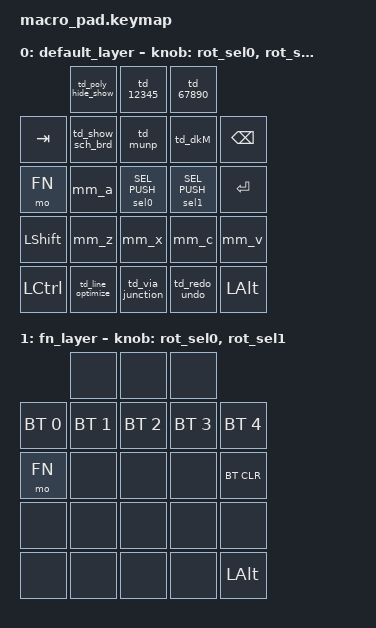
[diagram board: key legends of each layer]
/*
 * Copyright (c) 2024 The ZMK Contributors
 *
 * SPDX-License-Identifier: MIT
 */

#include <behaviors.dtsi>
#include <dt-bindings/zmk/keys.h>
#include <dt-bindings/zmk/bt.h>
#include <dt-bindings/zmk/selector.h>

#define DEFAULT   0
#define FN        1

&mt {
    tapping-term-ms = <400>;
};

/ {

    behaviors {
        td_redo_undo: tap_dance_redo_undo {
            compatible = "zmk,behavior-tap-dance";
            #binding-cells = <0>;
            tapping-term-ms = <300>;
            bindings = <&kp LC(Y)>,<&kp LC(Z)>;
        };

        td_via_junction: tap_dance_via_junction {
            compatible = "zmk,behavior-tap-dance";
            #binding-cells = <0>;
            tapping-term-ms = <300>;
            bindings = <&kp LA(V)>, <&kp LC(J)>;
        };

        td_name_value: tap_dance_name_value {
            compatible = "zmk,behavior-tap-dance";
            #binding-cells = <0>;
            tapping-term-ms = <300>;
            bindings = <&kp N>,<&kp V>;
        };

        td_move_split: tap_dance_move_split {
            compatible = "zmk,behavior-tap-dance";
            #binding-cells = <0>;
            tapping-term-ms = <300>;
            bindings = <&kp M>,<&kp L>;
        };

        td_show_sch_brd: tap_dance_show_sch_brd {
            compatible = "zmk,behavior-tap-dance";
            #binding-cells = <0>;
            tapping-term-ms = <300>;
            bindings = <&kp W>,<&kp LC(N1)>,<&kp LC(N2)>;
        };

        td_poly_hide_show: tap_dance_poly_hidefill_showfill {
            compatible = "zmk,behavior-tap-dance";
            #binding-cells = <0>;
            tapping-term-ms = <300>;
            bindings = <&kp LC(LS(P))>,<&kp LC(LS(O))>,<&kp LC(LS(I))>;
        };

        td_singlelayer_flipboard: tap_dance_singlelayer_flipboard {
            compatible = "zmk,behavior-tap-dance";
            #binding-cells = <0>;
            tapping-term-ms = <300>;
            bindings = <&kp LC(T)>,<&kp LC(LS(LA(F)))>;
        };

        td_line_optimize: tap_dance_line_optimize {
            compatible = "zmk,behavior-tap-dance";
            #binding-cells = <0>;
            tapping-term-ms = <300>;
            bindings = <&kp LC(L)>,<&kp LC(LS(LA(O)))>;
        };

        td_net_unroute_del: tap_dance_net_unroute_del {
            compatible = "zmk,behavior-tap-dance";
            #binding-cells = <0>;
            tapping-term-ms = <300>;
            bindings = <&kp R>,<&kp LC(LS(LA(R)))>,<&kp LC(LS(D))>;
        };

        td_12345: tap_dance_12345 {
            compatible = "zmk,behavior-tap-dance";
            #binding-cells = <0>;
            tapping-term-ms = <300>;
            bindings = <&kp N1>,<&kp N2>,<&kp N3>,<&kp N4>,<&kp N5>;
        };

        td_67890: tap_dance_67890 {
            compatible = "zmk,behavior-tap-dance";
            #binding-cells = <0>;
            tapping-term-ms = <300>;
            bindings = <&kp N6>,<&kp N7>,<&kp N8>,<&kp N9>,<&kp N0>;
        };

        td_munp: tap_dance_munp {
            compatible = "zmk,behavior-tap-dance";
            #binding-cells = <0>;
            tapping-term-ms = <300>;
            bindings = <&kp M>,<&kp U>,<&kp N>,<&kp P>;
        };

        td_dkM: tap_dance_dkM {
            compatible = "zmk,behavior-tap-dance";
            #binding-cells = <0>;
            tapping-term-ms = <300>;
            bindings = <&kp DOT>,<&kp K>,<&kp LS(M)>;
        };

        sel0: selector_0 {
            compatible = "zmk,behavior-selector";
            #binding-cells = <1>;
            bindings =
                <&kp LC(LA(DOT))>,      <&sel0 5>,        // LCTRL + LALT + .  : layer 25;
                <&kp DOT>,              <&sel0 4>,        // LCTRL + LSHFT + . : layer 1;
                <&kp LC(LS(DOT))>,      <&sel0 3>,        // .                 : layer 2;
                <&kp LC(LS(COMMA))>,    <&sel0 2>,        // ,                 : layer 15;
                <&kp COMMA>,            <&sel0 1>,        // LCTRL + LSHFT + , : layer 16;
                <&kp LC(LA(COMMA))>,    <&sel0 0>;        // LCTRL + LALT + ,  : layer 26;
            selection-default = <1>;
            separate-pushed;
        };

        sel1: selector_1 {
            compatible = "zmk,behavior-selector";
            #binding-cells = <1>;
            bindings =
                <&kp LC(LA(N4))>,       <&sel1 2>,  // LCTRL + LALT + 4 : Set width 0.2;
                <&kp LC(LA(N5))>,       <&sel1 2>,  // LCTRL + LALT + 5 : Set width 0.25;
                <&kp LC(LA(N6))>,       <&sel1 1>,  // LCTRL + LALT + 6 : Set width 0.3;
                <&kp LC(LA(N7))>,       <&sel1 1>,  // LCTRL + LALT + 7 : Set width 0.4;
                <&kp LC(LA(N8))>,       <&sel1 1>,  // LCTRL + LALT + 8 : Set width 0.6;
                <&kp LC(LA(N9))>,       <&sel1 1>,  // LCTRL + LALT + 9 : Set width 1.0;
                <&kp LC(LA(N0))>,       <&sel1 1>,  // LCTRL + LALT + 0 : Set width 1.4;
                <&kp LC(LA(MINUS))>,    <&sel1 1>,  // LCTRL + LALT + - : Set width 2.0;
                <&kp LC(LA(EQUAL))>,    <&sel1 1>,  // LCTRL + LALT + = : Set width 3.0;
                <&kp LC(LA(GRAV))>,     <&sel1 1>;  // LCTRL + LALT + ` : Set width 5.0;
            selection-default = <3>;
            separate-pushed;
        };

        rot_sel0: sensor_rotate_sel0 {
            compatible = "zmk,behavior-sensor-rotate";
            #sensor-binding-cells = <0>;
            bindings = <&sel0 SEL_NEXT>, <&sel0 SEL_PREV>;
        };

        rot_sel1: sensor_rotate_sel1 {
            compatible = "zmk,behavior-sensor-rotate";
            #sensor-binding-cells = <0>;
            bindings = <&sel1 SEL_NEXT>, <&sel1 SEL_PREV>;
        };

        mm_a: mm_a {
            compatible = "zmk,behavior-mod-morph";
            #binding-cells = <0>;
            bindings = <&td_singlelayer_flipboard>, <&kp A>;
            mods = <(MOD_LCTL)>;
            keep-mods = <(MOD_LCTL)>;
        };
        mm_z: mm_z {
            compatible = "zmk,behavior-mod-morph";
            #binding-cells = <0>;
            bindings = <&kp ESC>, <&kp Z>;
            mods = <(MOD_LCTL)>;
            keep-mods = <(MOD_LCTL)>;
        };
        mm_x: mm_x {
            compatible = "zmk,behavior-mod-morph";
            #binding-cells = <0>;
            bindings = <&td_move_split>, <&kp X>;
            mods = <(MOD_LCTL)>;
            keep-mods = <(MOD_LCTL)>;
        };
        mm_c: mm_c {
            compatible = "zmk,behavior-mod-morph";
            #binding-cells = <0>;
            bindings = <&td_net_unroute_del>, <&kp C>;
            mods = <(MOD_LCTL)>;
            keep-mods = <(MOD_LCTL)>;
        };
        mm_v: mm_v {
            compatible = "zmk,behavior-mod-morph";
            #binding-cells = <0>;
            bindings = <&td_name_value>, <&kp V>;
            mods = <(MOD_LCTL)>;
            keep-mods = <(MOD_LCTL)>;
        };
    };

    keymap {
        compatible = "zmk,keymap";

        default_layer {
            bindings = <
                        &td_poly_hide_show  &td_12345           &td_67890
            &kp TAB     &td_show_sch_brd    &td_munp            &td_dkM             &kp BSPC
            &mo FN      &mm_a               &sel0 SEL_PUSH      &sel1 SEL_PUSH      &kp RET
            &kp LSHFT   &mm_z               &mm_x               &mm_c               &mm_v
            &kp LCTRL   &td_line_optimize   &td_via_junction    &td_redo_undo       &kp LALT
            >;

            sensor-bindings = <&rot_sel0 &rot_sel1>;
        };
        fn_layer {
            bindings = <
                            &none           &none               &none
            &bt BT_SEL 0    &bt BT_SEL 1    &bt BT_SEL 2        &bt BT_SEL 3        &bt BT_SEL 4
            &mo FN          &none           &none               &none               &bt BT_CLR
            &none           &none           &none               &none               &none
            &none           &none           &none               &none               &kp LALT
            >;

            sensor-bindings = <&rot_sel0 &rot_sel1>;
        };
    };
};
